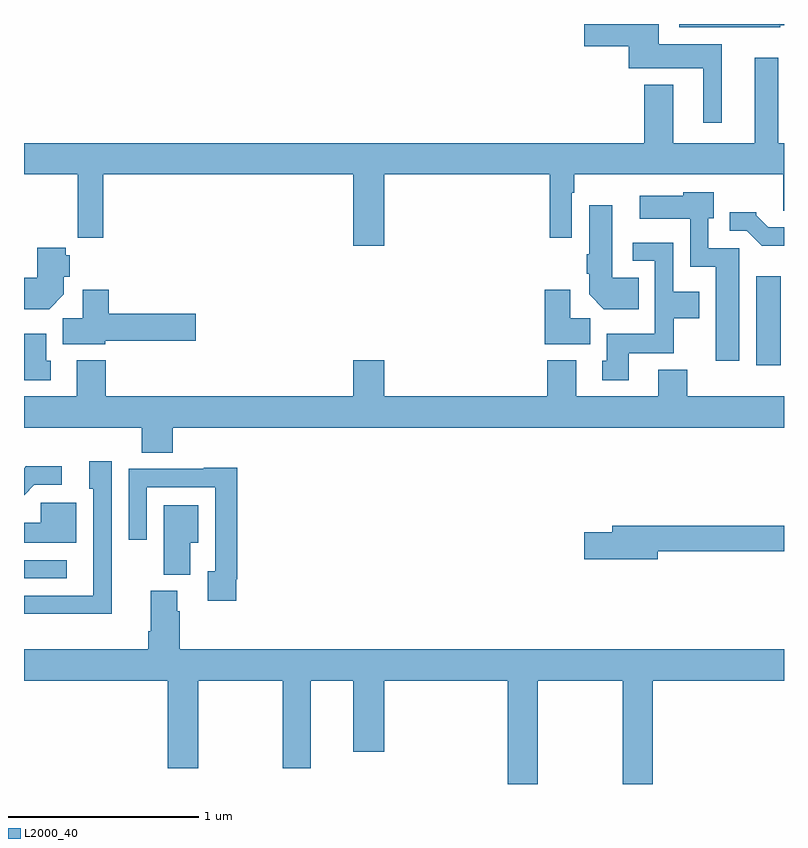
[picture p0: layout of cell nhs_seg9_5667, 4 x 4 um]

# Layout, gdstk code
import gdstk
lib = gdstk.Library(unit=1e-6, precision=1e-09)
def R(c, l, rs):  # rectangles x0, y0, x1, y1
    for r in rs: c.add(gdstk.rectangle(r[:2], r[2:], *l))
def P(c, l, *ps):  # polygons
    for p in ps: c.add(gdstk.Polygon(p, *l))
L2000_40 = (2000, 40)

nhs_seg9_5667 = lib.new_cell('nhs_seg9_5667')
R(nhs_seg9_5667, L2000_40, [(439,1239.582,439.225,1239.678), (442.853,1240.704,442.984,1241.173)])
P(nhs_seg9_5667, L2000_40, [(442.672,1242.394),(442.342,1242.394),(442.342,1242.5),(441.948,1242.5),(441.948,1242.383),(442.184,1242.383),(442.184,1242.266),(442.574,1242.266),(442.574,1241.979),(442.672,1241.979)],
  [(442.98,1242.494),(443,1242.494),(443,1242.5),(442.449,1242.5),(442.449,1242.483),(442.761,1242.483),(442.761,1242.482),(442.98,1242.482)],
  [(440.896,1241.708),(441.766,1241.708),(441.766,1241.376),(441.882,1241.376),(441.882,1241.612),(441.895,1241.612),(441.895,1241.708),(442.997,1241.708),(442.997,1241.518),(443,1241.518),(443,1241.872),(442.969,1241.872),(442.969,1242.322),(442.847,1242.322),(442.847,1241.872),(442.417,1241.872),(442.417,1242.181),(442.265,1242.181),(442.265,1241.872),(439,1241.872),(439,1241.708),(439.282,1241.708),(439.282,1241.376),(439.418,1241.376),(439.418,1241.708),(440.732,1241.708),(440.732,1241.334),(440.896,1241.334)],
  [(442.765,1241.319),(442.602,1241.319),(442.602,1241.478),(442.63,1241.478),(442.63,1241.614),(442.47,1241.614),(442.47,1241.596),(442.242,1241.596),(442.242,1241.474),(442.506,1241.474),(442.506,1241.222),(442.64,1241.222),(442.64,1240.728),(442.765,1240.728)],
  [(442.235,1241.164),(442.096,1241.164),(442.096,1241.545),(441.974,1241.545),(441.974,1241.288),(441.962,1241.288),(441.962,1241.185),(441.974,1241.185),(441.974,1241.078),(442.052,1241),(442.235,1241)],
  [(443,1241.43),(442.918,1241.43),(442.854,1241.494),(442.854,1241.509),(442.715,1241.509),(442.715,1241.412),(442.803,1241.412),(442.882,1241.334),(443,1241.334)],
  [(442.183,1240.766),(442.419,1240.766),(442.419,1240.952),(442.555,1240.952),(442.555,1241.092),(442.416,1241.092),(442.416,1241.349),(442.203,1241.349),(442.203,1241.253),(442.32,1241.253),(442.32,1240.87),(442.067,1240.87),(442.067,1240.728),(442.043,1240.728),(442.043,1240.626),(442.183,1240.626)],
  [(439.21,1241.078),(439.21,1241.169),(439.241,1241.169),(439.241,1241.283),(439.219,1241.283),(439.219,1241.322),(439.07,1241.322),(439.07,1241.164),(439,1241.164),(439,1241),(439.132,1241)],
  [(439.428,1240.834),(439.903,1240.834),(439.903,1240.976),(439.445,1240.976),(439.445,1241.101),(439.31,1241.101),(439.31,1240.952),(439.205,1240.952),(439.205,1240.814),(439.428,1240.814)],
  [(441.979,1240.952),(441.874,1240.952),(441.874,1241.101),(441.74,1241.101),(441.74,1240.814),(441.979,1240.814)],
  [(439.141,1240.728),(439.117,1240.728),(439.117,1240.87),(439,1240.87),(439,1240.766),(439.001,1240.766),(439.001,1240.626),(439.141,1240.626)],
  [(439.784,1240.376),(443,1240.376),(443,1240.54),(442.49,1240.54),(442.49,1240.681),(442.337,1240.681),(442.337,1240.54),(441.907,1240.54),(441.907,1240.729),(441.755,1240.729),(441.755,1240.54),(440.896,1240.54),(440.896,1240.729),(440.732,1240.729),(440.732,1240.54),(439.43,1240.54),(439.43,1240.729),(439.277,1240.729),(439.277,1240.54),(439,1240.54),(439,1240.376),(439.619,1240.376),(439.619,1240.243),(439.784,1240.243)],
  [(439.463,1239.698),(439.461,1239.698),(439.461,1240.198),(439.343,1240.198),(439.343,1240.053),(439.365,1240.053),(439.365,1239.492),(439,1239.492),(439,1239.395),(439.463,1239.395)],
  [(439.053,1240.074),(439.198,1240.074),(439.198,1240.172),(439.01,1240.172),(439,1240.162),(439,1240.021)],
  [(440.116,1239.577),(440.123,1239.577),(440.123,1240.165),(439.947,1240.165),(439.947,1240.158),(439.551,1240.158),(439.551,1239.786),(439.647,1239.786),(439.647,1240.062),(440.007,1240.062),(440.007,1239.621),(439.967,1239.621),(439.967,1239.465),(440.116,1239.465)],
  [(439.276,1239.981),(439.089,1239.981),(439.089,1239.874),(439,1239.874),(439,1239.77),(439.276,1239.77)],
  [(439.876,1239.77),(439.918,1239.77),(439.918,1239.967),(439.736,1239.967),(439.736,1239.601),(439.876,1239.601)],
  [(442.336,1239.724),(443,1239.724),(443,1239.86),(442.097,1239.86),(442.097,1239.824),(441.948,1239.824),(441.948,1239.682),(442.336,1239.682)],
  [(441.705,1239.044),(442.15,1239.044),(442.15,1238.5),(442.31,1238.5),(442.31,1239.044),(443,1239.044),(443,1239.208),(439.82,1239.208),(439.82,1239.41),(439.807,1239.41),(439.807,1239.516),(439.667,1239.516),(439.667,1239.304),(439.655,1239.304),(439.655,1239.208),(439,1239.208),(439,1239.044),(439.757,1239.044),(439.757,1238.583),(439.917,1238.583),(439.917,1239.044),(440.362,1239.044),(440.362,1238.583),(440.509,1238.583),(440.509,1239.044),(440.732,1239.044),(440.732,1238.67),(440.896,1238.67),(440.896,1239.044),(441.545,1239.044),(441.545,1238.5),(441.705,1238.5)])

lib.write_gds('nhs_seg9_5667.gds')
